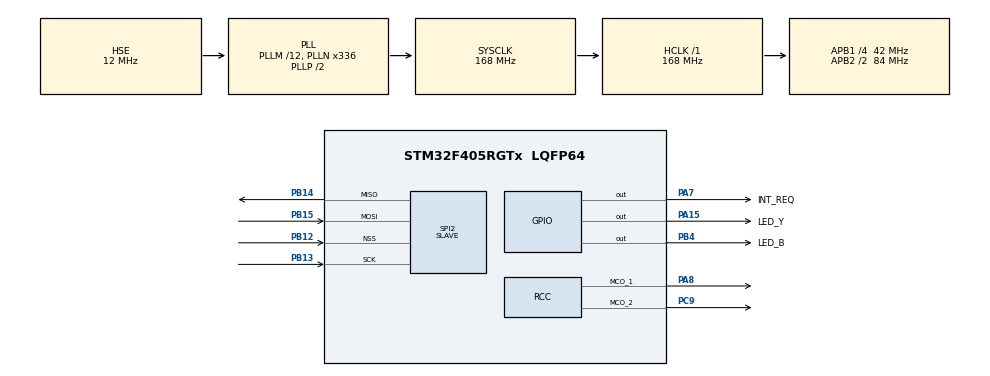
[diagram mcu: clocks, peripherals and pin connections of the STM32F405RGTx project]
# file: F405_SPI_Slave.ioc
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Dma.Request0=SPI2_RX
Dma.Request1=SPI2_TX
Dma.SPI2_RX.0.Direction=DMA_PERIPH_TO_MEMORY
Dma.SPI2_RX.0.FIFOMode=DMA_FIFOMODE_DISABLE
Dma.SPI2_RX.0.Instance=DMA1_Stream3
Dma.SPI2_RX.0.MemDataAlignment=DMA_MDATAALIGN_BYTE
Dma.SPI2_RX.0.MemInc=DMA_MINC_ENABLE
Dma.SPI2_RX.0.Mode=DMA_NORMAL
Dma.SPI2_RX.0.PeriphDataAlignment=DMA_PDATAALIGN_BYTE
Dma.SPI2_RX.0.PeriphInc=DMA_PINC_DISABLE
Dma.SPI2_RX.0.Priority=DMA_PRIORITY_VERY_HIGH
Dma.SPI2_TX.1.Direction=DMA_MEMORY_TO_PERIPH
Dma.SPI2_TX.1.FIFOMode=DMA_FIFOMODE_DISABLE
Dma.SPI2_TX.1.Instance=DMA1_Stream4
Dma.SPI2_TX.1.MemDataAlignment=DMA_MDATAALIGN_BYTE
Dma.SPI2_TX.1.MemInc=DMA_MINC_ENABLE
Dma.SPI2_TX.1.Mode=DMA_NORMAL
Dma.SPI2_TX.1.PeriphDataAlignment=DMA_PDATAALIGN_BYTE
Dma.SPI2_TX.1.PeriphInc=DMA_PINC_DISABLE
Dma.SPI2_TX.1.Priority=DMA_PRIORITY_VERY_HIGH
Mcu.Family=STM32F4
Mcu.Name=STM32F405RGTx
Mcu.Package=LQFP64
NVIC.DMA1_Stream3_IRQn=true\:0\:0\:false\:true\:true\:1\:false\:true
NVIC.DMA1_Stream4_IRQn=true\:0\:0\:false\:true\:true\:2\:false\:true
NVIC.HASH_RNG_IRQn=true\:0\:0\:false\:false\:true\:true\:true
NVIC.PriorityGroup=NVIC_PRIORITYGROUP_4
PA13.Mode=Serial_Wire
PA13.Signal=SYS_JTMS-SWDIO
PA14.Mode=Serial_Wire
PA14.Signal=SYS_JTCK-SWCLK
PA15.GPIO_Label=LED_Y
PA15.Signal=GPIO_Output
PA7.GPIO_Label=INT_REQ
PA7.GPIO_ModeDefaultOutputPP=GPIO_MODE_OUTPUT_PP
PA7.GPIO_PuPd=GPIO_PULLUP
PA7.PinState=GPIO_PIN_SET
PA7.Signal=GPIO_Output
PA8.Mode=Clock-out-1
PA8.Signal=RCC_MCO_1
PB12.Mode=NSS_Signal_Hard_Input
PB12.Signal=SPI2_NSS
PB13.Mode=Full_Duplex_Slave
PB13.Signal=SPI2_SCK
PB14.Mode=Full_Duplex_Slave
PB14.Signal=SPI2_MISO
PB15.Mode=Full_Duplex_Slave
PB15.Signal=SPI2_MOSI
PB4.GPIO_Label=LED_B
PB4.Signal=GPIO_Output
PC9.Mode=Clock-out-2
PC9.Signal=RCC_MCO_2
PH0-OSC_IN.Mode=HSE-External-Oscillator
PH0-OSC_IN.Signal=RCC_OSC_IN
PH1-OSC_OUT.Mode=HSE-External-Oscillator
PH1-OSC_OUT.Signal=RCC_OSC_OUT
ProjectManager.HeapSize=0x4000
ProjectManager.StackSize=0x2000
ProjectManager.TargetToolchain=MDK-ARM V5.27
RCC.48MHZClocksFreq_Value=48000000
RCC.AHBFreq_Value=168000000
RCC.APB1CLKDivider=RCC_HCLK_DIV4
RCC.APB1Freq_Value=42000000
RCC.APB1TimFreq_Value=84000000
RCC.APB2CLKDivider=RCC_HCLK_DIV2
RCC.APB2Freq_Value=84000000
RCC.APB2TimFreq_Value=168000000
RCC.CortexFreq_Value=168000000
RCC.HCLKFreq_Value=168000000
RCC.HSE_VALUE=12000000
RCC.HSI_VALUE=16000000
RCC.LSE_VALUE=32768
RCC.PLLM=12
RCC.PLLN=336
RCC.PLLQ=7
RCC.PLLSourceVirtual=RCC_PLLSOURCE_HSE
RCC.SYSCLKFreq_VALUE=168000000
RCC.SYSCLKSource=RCC_SYSCLKSOURCE_PLLCLK
RCC.VCOOutputFreq_Value=336000000
SPI2.CLKPhase=SPI_PHASE_2EDGE
SPI2.CLKPolarity=SPI_POLARITY_HIGH
SPI2.Direction=SPI_DIRECTION_2LINES
SPI2.Mode=SPI_MODE_SLAVE
SPI2.VirtualNSS=VM_NSSHARD
SPI2.VirtualType=VM_SLAVE
VP_CRC_VS_CRC.Mode=CRC_Activate
VP_RNG_VS_RNG.Mode=RNG_Activate
board=custom

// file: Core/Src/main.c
/* USER CODE BEGIN Header */
/**
  ******************************************************************************
  * @file           : main.c
  * @brief          : Main program body
  ******************************************************************************
  * @attention
  *
  * <h2><center>&copy; Copyright (c) 2022 STMicroelectronics.
  * All rights reserved.</center></h2>
  *
  * This software component is licensed by ST under BSD 3-Clause license,
  * the "License"; You may not use this file except in compliance with the
  * License. You may obtain a copy of the License at:
  *                        opensource.org/licenses/BSD-3-Clause
  *
  ******************************************************************************
  */
/* USER CODE END Header */
#include "main.h"

/* USER CODE BEGIN PD */
#define min(a,b) (((a) < (b)) ? (a) : (b))
#define max(a,b) (((a) > (b)) ? (a) : (b))

#define PREAMBLE_LENGTH 1
#define SERIAL_NO_LENGTH 1
#define DATA_DESC_LENGTH 64
#define PAYLOAD_COUNT_LENGTH 2
#define MAX_PAYLOAD_LENGTH 1024
#define VERIFY_LENGTH 4
#define HEAD_LENGTH (PREAMBLE_LENGTH + SERIAL_NO_LENGTH + DATA_DESC_LENGTH + PAYLOAD_COUNT_LENGTH) //68
#define PAYLOAD_SHIFT HEAD_LENGTH
#define MAX_PACKET_LENGTH (HEAD_LENGTH + MAX_PAYLOAD_LENGTH + VERIFY_LENGTH) //1096

#define REQ_MASTER_INT() HAL_GPIO_WritePin(INT_REQ_GPIO_Port, INT_REQ_Pin, GPIO_PIN_RESET)
#define CLR_MASTER_INT() HAL_GPIO_WritePin(INT_REQ_GPIO_Port, INT_REQ_Pin, GPIO_PIN_SET)
/* USER CODE END PD */

CRC_HandleTypeDef hcrc;

RNG_HandleTypeDef hrng;

SPI_HandleTypeDef hspi2;
DMA_HandleTypeDef hdma_spi2_rx;
DMA_HandleTypeDef hdma_spi2_tx;

/* USER CODE BEGIN PV */
uint8_t sendBuff[MAX_PACKET_LENGTH] = {0};
uint8_t recvBuff[MAX_PACKET_LENGTH] = {0};
uint8_t crc32Buff[MAX_PACKET_LENGTH] = {0};

/* USER CODE END PV */

void SystemClock_Config(void);
static void MX_GPIO_Init(void);
static void MX_DMA_Init(void);
static void MX_SPI2_Init(void);
static void MX_CRC_Init(void);
static void MX_RNG_Init(void);
static void MX_NVIC_Init(void);
/* USER CODE BEGIN PFP */
void Start_Packet_Transmit(SPI_HandleTypeDef *hspi);
void Async_Waiting_to_Receive_Packet(SPI_HandleTypeDef *hspi);
void Stop_Waiting_Packet(SPI_HandleTypeDef *hspi);
void Blocking_Waiting_to_Bus_Free(void);

unsigned int reverse(unsigned int x);
unsigned int reverse_in_byte(unsigned int x);
/* USER CODE END PFP */

/* USER CODE BEGIN 0 */
int8_t NEED_CALL_Start_Packet_Transmit = 0;
/* USER CODE END 0 */

int main(void)
{

  /* MCU Configuration--------------------------------------------------------*/

  /* Reset of all peripherals, Initializes the Flash interface and the Systick. */
  HAL_Init();

  /* Configure the system clock */
  SystemClock_Config();

  /* Initialize all configured peripherals */
  MX_GPIO_Init();
  MX_DMA_Init();
  MX_SPI2_Init();
  MX_CRC_Init();
  MX_RNG_Init();

  /* Initialize interrupts */
  MX_NVIC_Init();
  /* USER CODE BEGIN 2 */

/*
	HAL_GPIO_WritePin(INT_REQ_GPIO_Port, INT_REQ_Pin, GPIO_PIN_SET);
	for (uint16_t i = 0; i < 1024; i++)
	{
			sendBuff[i] = (uint8_t)(i & 0xFF);
	}
	*/
	//HAL_SPI_Transmit_DMA(&hspi2, sendBuff, 255);

	//TODO: sync operation needed.
	Async_Waiting_to_Receive_Packet(&hspi2);

	//Async_Waiting_to_Receive_Packet(&hspi2);
  /* USER CODE END 2 */

  /* Infinite loop */
  while (1)
  {

    /* USER CODE BEGIN 3 */

		if (NEED_CALL_Start_Packet_Transmit) {
			Start_Packet_Transmit(&hspi2);
			NEED_CALL_Start_Packet_Transmit = 0;
		}
  }
  /* USER CODE END 3 */
}

void SystemClock_Config(void)
{
  RCC_OscInitTypeDef RCC_OscInitStruct = {0};
  RCC_ClkInitTypeDef RCC_ClkInitStruct = {0};

  /** Configure the main internal regulator output voltage
  */
  __HAL_RCC_PWR_CLK_ENABLE();
  __HAL_PWR_VOLTAGESCALING_CONFIG(PWR_REGULATOR_VOLTAGE_SCALE1);
  /** Initializes the RCC Oscillators according to the specified parameters
  * in the RCC_OscInitTypeDef structure.
  */
  RCC_OscInitStruct.OscillatorType = RCC_OSCILLATORTYPE_HSI|RCC_OSCILLATORTYPE_HSE;
  RCC_OscInitStruct.HSEState = RCC_HSE_ON;
  RCC_OscInitStruct.HSIState = RCC_HSI_ON;
  RCC_OscInitStruct.HSICalibrationValue = RCC_HSICALIBRATION_DEFAULT;
  RCC_OscInitStruct.PLL.PLLState = RCC_PLL_ON;
  RCC_OscInitStruct.PLL.PLLSource = RCC_PLLSOURCE_HSE;
  RCC_OscInitStruct.PLL.PLLM = 12;
  RCC_OscInitStruct.PLL.PLLN = 336;
  RCC_OscInitStruct.PLL.PLLP = RCC_PLLP_DIV2;
  RCC_OscInitStruct.PLL.PLLQ = 7;
  if (HAL_RCC_OscConfig(&RCC_OscInitStruct) != HAL_OK)
  {
    Error_Handler();
  }
  /** Initializes the CPU, AHB and APB buses clocks
  */
  RCC_ClkInitStruct.ClockType = RCC_CLOCKTYPE_HCLK|RCC_CLOCKTYPE_SYSCLK
                              |RCC_CLOCKTYPE_PCLK1|RCC_CLOCKTYPE_PCLK2;
  RCC_ClkInitStruct.SYSCLKSource = RCC_SYSCLKSOURCE_PLLCLK;
  RCC_ClkInitStruct.AHBCLKDivider = RCC_SYSCLK_DIV1;
  RCC_ClkInitStruct.APB1CLKDivider = RCC_HCLK_DIV4;
  RCC_ClkInitStruct.APB2CLKDivider = RCC_HCLK_DIV2;

  if (HAL_RCC_ClockConfig(&RCC_ClkInitStruct, FLASH_LATENCY_5) != HAL_OK)
  {
    Error_Handler();
  }
  HAL_RCC_MCOConfig(RCC_MCO1, RCC_MCO1SOURCE_HSI, RCC_MCODIV_1);
  HAL_RCC_MCOConfig(RCC_MCO2, RCC_MCO2SOURCE_SYSCLK, RCC_MCODIV_1);
}

/**
  * @brief NVIC Configuration.
  * @retval None
  */
static void MX_NVIC_Init(void)
{
  /* DMA1_Stream3_IRQn interrupt configuration */
  HAL_NVIC_SetPriority(DMA1_Stream3_IRQn, 0, 0);
  HAL_NVIC_EnableIRQ(DMA1_Stream3_IRQn);
  /* DMA1_Stream4_IRQn interrupt configuration */
  HAL_NVIC_SetPriority(DMA1_Stream4_IRQn, 0, 0);
  HAL_NVIC_EnableIRQ(DMA1_Stream4_IRQn);
}

static void MX_CRC_Init(void)
{

  hcrc.Instance = CRC;
  if (HAL_CRC_Init(&hcrc) != HAL_OK)
  {
    Error_Handler();
  }

}

static void MX_RNG_Init(void)
{

  hrng.Instance = RNG;
  if (HAL_RNG_Init(&hrng) != HAL_OK)
  {
    Error_Handler();
  }

}

static void MX_SPI2_Init(void)
{

  /* SPI2 parameter configuration*/
  hspi2.Instance = SPI2;
  hspi2.Init.Mode = SPI_MODE_SLAVE;
  hspi2.Init.Direction = SPI_DIRECTION_2LINES;
  hspi2.Init.DataSize = SPI_DATASIZE_8BIT;
  hspi2.Init.CLKPolarity = SPI_POLARITY_HIGH;
  hspi2.Init.CLKPhase = SPI_PHASE_2EDGE;
  hspi2.Init.NSS = SPI_NSS_HARD_INPUT;
  hspi2.Init.FirstBit = SPI_FIRSTBIT_MSB;
  hspi2.Init.TIMode = SPI_TIMODE_DISABLE;
  hspi2.Init.CRCCalculation = SPI_CRCCALCULATION_DISABLE;
  hspi2.Init.CRCPolynomial = 10;
  if (HAL_SPI_Init(&hspi2) != HAL_OK)
  {
    Error_Handler();
  }

}

static void MX_DMA_Init(void)
{

  /* DMA controller clock enable */
  __HAL_RCC_DMA1_CLK_ENABLE();

}

static void MX_GPIO_Init(void)
{
  GPIO_InitTypeDef GPIO_InitStruct = {0};

  /* GPIO Ports Clock Enable */
  __HAL_RCC_GPIOH_CLK_ENABLE();
  __HAL_RCC_GPIOA_CLK_ENABLE();
  __HAL_RCC_GPIOB_CLK_ENABLE();
  __HAL_RCC_GPIOC_CLK_ENABLE();

  /*Configure GPIO pin Output Level */
  HAL_GPIO_WritePin(INT_REQ_GPIO_Port, INT_REQ_Pin, GPIO_PIN_SET);

  /*Configure GPIO pin Output Level */
  HAL_GPIO_WritePin(LED_Y_GPIO_Port, LED_Y_Pin, GPIO_PIN_RESET);

  /*Configure GPIO pin Output Level */
  HAL_GPIO_WritePin(LED_B_GPIO_Port, LED_B_Pin, GPIO_PIN_RESET);

  /*Configure GPIO pin : INT_REQ_Pin */
  GPIO_InitStruct.Pin = INT_REQ_Pin;
  GPIO_InitStruct.Mode = GPIO_MODE_OUTPUT_PP;
  GPIO_InitStruct.Pull = GPIO_PULLUP;
  GPIO_InitStruct.Speed = GPIO_SPEED_FREQ_LOW;
  HAL_GPIO_Init(INT_REQ_GPIO_Port, &GPIO_InitStruct);

  /*Configure GPIO pin : PC9 */
  GPIO_InitStruct.Pin = GPIO_PIN_9;
  GPIO_InitStruct.Mode = GPIO_MODE_AF_PP;
  GPIO_InitStruct.Pull = GPIO_NOPULL;
  GPIO_InitStruct.Speed = GPIO_SPEED_FREQ_LOW;
  GPIO_InitStruct.Alternate = GPIO_AF0_MCO;
  HAL_GPIO_Init(GPIOC, &GPIO_InitStruct);

  /*Configure GPIO pin : PA8 */
  GPIO_InitStruct.Pin = GPIO_PIN_8;
  GPIO_InitStruct.Mode = GPIO_MODE_AF_PP;
  GPIO_InitStruct.Pull = GPIO_NOPULL;
  GPIO_InitStruct.Speed = GPIO_SPEED_FREQ_LOW;
  GPIO_InitStruct.Alternate = GPIO_AF0_MCO;
  HAL_GPIO_Init(GPIOA, &GPIO_InitStruct);

  /*Configure GPIO pin : LED_Y_Pin */
  GPIO_InitStruct.Pin = LED_Y_Pin;
  GPIO_InitStruct.Mode = GPIO_MODE_OUTPUT_PP;
  GPIO_InitStruct.Pull = GPIO_NOPULL;
  GPIO_InitStruct.Speed = GPIO_SPEED_FREQ_LOW;
  HAL_GPIO_Init(LED_Y_GPIO_Port, &GPIO_InitStruct);

  /*Configure GPIO pin : LED_B_Pin */
  GPIO_InitStruct.Pin = LED_B_Pin;
  GPIO_InitStruct.Mode = GPIO_MODE_OUTPUT_PP;
  GPIO_InitStruct.Pull = GPIO_NOPULL;
  GPIO_InitStruct.Speed = GPIO_SPEED_FREQ_LOW;
  HAL_GPIO_Init(LED_B_GPIO_Port, &GPIO_InitStruct);

}

/* USER CODE BEGIN 4 */

/**
  * @brief  Tx Transfer completed callback.
  * @param  hspi pointer to a SPI_HandleTypeDef structure that contains
  *               the configuration information for SPI module.
  * @retval None
  */
void HAL_SPI_TxCpltCallback(SPI_HandleTypeDef *hspi)
{
  /* Prevent unused argument(s) compilation warning */
  UNUSED(hspi);
	CLR_MASTER_INT();
	HAL_GPIO_TogglePin(LED_B_GPIO_Port, LED_B_Pin);
  Async_Waiting_to_Receive_Packet(hspi);
}

/**
  * @brief  Rx Transfer completed callback.
  * @param  hspi pointer to a SPI_HandleTypeDef structure that contains
  *               the configuration information for SPI module.
  * @retval None
  */
void HAL_SPI_RxCpltCallback(SPI_HandleTypeDef *hspi)
{
  /* Prevent unused argument(s) compilation warning */

	HAL_GPIO_TogglePin(LED_Y_GPIO_Port, LED_Y_Pin);
	//Async_Waiting_to_Receive_Packet(hspi);
	NEED_CALL_Start_Packet_Transmit = 1;
}

void Start_Packet_Transmit(SPI_HandleTypeDef *hspi)
{
	// should not call it at callback, this func may be blocking by bus busy
		int count = 0;
		uint8_t *databuf;

		static uint8_t serial_no = 0;
		uint32_t checksum;

		// pre_head 0xAA + serial no(1 Byte) + custom data descriptor(64 Bytes) + payload length(2 bytes, count by bytes) + payload(0~1024 Bytes) + CRC32
		sendBuff[0] = 0xAA;
		sendBuff[PREAMBLE_LENGTH] = serial_no++;
		count = min(count, (size_t)MAX_PAYLOAD_LENGTH); // use little endian to save payload length
		 *(uint16_t *)(sendBuff + PAYLOAD_SHIFT - 2) = count; //check align!
		//buf[PAYLOAD_SHIFT - 2] = (uint8_t)(count & 0xFF);
		//buf[PAYLOAD_SHIFT - 1] = (uint8_t)((count >> 8) & 0xFF);

		//for test
		uint8_t *dataptr = sendBuff + PAYLOAD_SHIFT;
		uint8_t data = 0;
		for (int datacount = 0 ; datacount < 1024; datacount++)
		{
				*dataptr++ = data++;
		}

		//memcpy(sendBuff + PAYLOAD_SHIFT, databuf, count);

		uint8_t test_str[] = "UUUUUUUUUUUUUUUU";
		//checksum = HAL_CRC_Calculate(&hcrc, (uint32_t *)sendBuff, (PAYLOAD_SHIFT + count)>>2);

		count = 13 - PAYLOAD_SHIFT;  //for test
		uint16_t crc32_calc_length = 0;

		/*
					code in switch section use a 32 bits magic num to do a pre-calc and fill some leading zero,
				to make the silly crc calc module can work with data length not align to 32 bits.

					the result is same as commom crc32 algorithm, which use:
				POLY 0x04C11DB7, INIT 0xFFFFFFFF, REFIN true, REFOUT true, XOROUT 0xFFFFFFFF.

					In my view, the hardware module calc crc32 with REFIN false, REFOUT false, XOROUT 0x00000000,
				so I need to do those operation by write some code to make crc-32 result same as commom crc32 algorithm.
		    If we want to got correct result on this MCU, input data need to be reversed by 32bits, not 8bit like others said.
				maybe cause by the crc-32 module use big endian for each 4bytes.
		*/
		switch ((PAYLOAD_SHIFT + count) % 4)
		{
				case 0:
					crc32_calc_length = (PAYLOAD_SHIFT + count) >> 2;
					for (int i = 0; i < crc32_calc_length; i++) {
						*(uint32_t *)(crc32Buff + (i << 2)) = reverse(*(uint32_t *)(test_str + (i << 2)));
					}
					checksum = ~reverse(HAL_CRC_Calculate(&hcrc, (uint32_t *)crc32Buff, crc32_calc_length));
					break;
				case 1:
					crc32_calc_length = ((PAYLOAD_SHIFT + count) >> 2) + 1;
					crc32Buff[0] = 0;
					crc32Buff[1] = 0;
					crc32Buff[2] = 0;
					crc32Buff[3] = test_str[0];
					*(uint32_t *)(crc32Buff + 0) = reverse(*(uint32_t *)(crc32Buff + 0));
					for (int i = 1; i < crc32_calc_length; i++) {
						*(uint32_t *)(crc32Buff + (i << 2)) = reverse(*(uint32_t *)(test_str + (i << 2) - 3));
					}
					__HAL_CRC_DR_RESET(&hcrc);
					hcrc.Instance->DR = 0x6AA59E9D; // <-- CRC_CalcCRC 0x6AA59E9D;
					checksum = ~reverse(HAL_CRC_Accumulate(&hcrc, (uint32_t *)crc32Buff, crc32_calc_length));
					break;

				case 2:
					crc32_calc_length = ((PAYLOAD_SHIFT + count) >> 2) + 1;
					crc32Buff[0] = 0;
					crc32Buff[1] = 0;
					crc32Buff[2] = test_str[0];
					crc32Buff[3] = test_str[1];
					*(uint32_t *)(crc32Buff + 0) = reverse(*(uint32_t *)(crc32Buff + 0));
					for (int i = 1; i < crc32_calc_length; i++) {
						*(uint32_t *)(crc32Buff + (i << 2)) = reverse(*(uint32_t *)(test_str + (i << 2) - 2));
					}
					__HAL_CRC_DR_RESET(&hcrc);
					hcrc.Instance->DR = 0x9746CD0A; // <-- CRC_CalcCRC 0x9746CD0A;
					checksum = ~reverse(HAL_CRC_Accumulate(&hcrc, (uint32_t *)crc32Buff, crc32_calc_length));
					break;

				case 3:
					crc32_calc_length = ((PAYLOAD_SHIFT + count) >> 2) + 1;
					crc32Buff[0] = 0;
					crc32Buff[1] = test_str[0];
					crc32Buff[2] = test_str[1];
					crc32Buff[3] = test_str[2];
					*(uint32_t *)(crc32Buff + 0) = reverse(*(uint32_t *)(crc32Buff + 0));
					for (int i = 1; i < crc32_calc_length; i++) {
						*(uint32_t *)(crc32Buff + (i << 2)) = reverse(*(uint32_t *)(test_str + (i << 2) - 1));
					}
					__HAL_CRC_DR_RESET(&hcrc);
					hcrc.Instance->DR = 0xCC6021D0; // <-- CRC_CalcCRC 0xCC6021D0;
					checksum = ~reverse(HAL_CRC_Accumulate(&hcrc, (uint32_t *)crc32Buff, crc32_calc_length));
					break;
		}

		*(uint32_t *)(sendBuff + PAYLOAD_SHIFT + count) = checksum; //check align!

		Blocking_Waiting_to_Bus_Free();
		Stop_Waiting_Packet(hspi);
		HAL_SPI_Transmit_DMA(hspi, sendBuff, MAX_PACKET_LENGTH);
		REQ_MASTER_INT();

		//will call Async_Waiting_to_Receive_Packet at Tx complete
}

void Async_Waiting_to_Receive_Packet(SPI_HandleTypeDef *hspi)
{
		// TODO: wait bus free
		HAL_SPI_Receive_DMA(hspi, recvBuff, MAX_PACKET_LENGTH);
}

void Stop_Waiting_Packet(SPI_HandleTypeDef *hspi)
{
		//__disable_irq();
/* might not be necessary */
 //hspi->hdmarx->XferCpltCallback = NULL;
	if(HAL_SPI_GetState(hspi) == HAL_SPI_STATE_BUSY_RX) {
		HAL_SPI_DMAStop(hspi);
	}
 //__enable_irq();
/* might not be necessary */
}

void Blocking_Waiting_to_Bus_Free()
{
	if(HAL_GPIO_ReadPin(SPI_NSS_GPIO_Port, SPI_NSS_Pin) == GPIO_PIN_RESET) {
		HAL_Delay(1);
	}

}

inline unsigned int reverse(unsigned int x)
{
    x = (((x & 0xaaaaaaaa) >> 1) | ((x & 0x55555555) << 1));
    x = (((x & 0xcccccccc) >> 2) | ((x & 0x33333333) << 2));
    x = (((x & 0xf0f0f0f0) >> 4) | ((x & 0x0f0f0f0f) << 4));
    x = (((x & 0xff00ff00) >> 8) | ((x & 0x00ff00ff) << 8));
    return((x >> 16) | (x << 16));
}

inline unsigned int reverse_in_byte(unsigned int x)
{
    x = (((x & 0xaaaaaaaa) >> 1) | ((x & 0x55555555) << 1));
    x = (((x & 0xcccccccc) >> 2) | ((x & 0x33333333) << 2));
    return (((x & 0xf0f0f0f0) >> 4) | ((x & 0x0f0f0f0f) << 4));
}

/* USER CODE END 4 */

void Error_Handler(void)
{
  __disable_irq();
  while (1)
  {
  }
}

/************************ (C) COPYRIGHT STMicroelectronics *****END OF FILE****/
